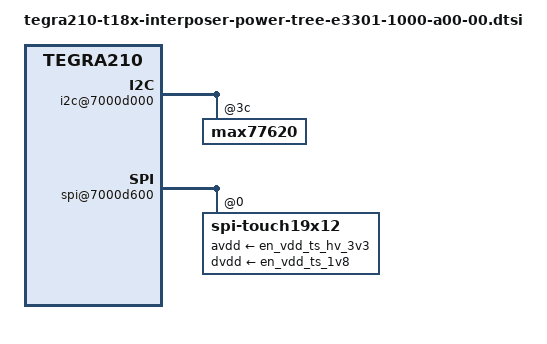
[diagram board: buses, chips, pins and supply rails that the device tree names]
/*
 * Copyright (c) 2015, NVIDIA CORPORATION.  All rights reserved.
 *
 * This program is free software; you can redistribute it and/or modify
 * it under the terms of the GNU General Public License as published by
 * the Free Software Foundation; either version 2 of the License, or
 * (at your option) any later version.
 *
 * This program is distributed in the hope that it will be useful, but WITHOUT
 * ANY WARRANTY; without even the implied warranty of MERCHANTABILITY or
 * FITNESS FOR A PARTICULAR PURPOSE.  See the GNU General Public License for
 * more details.
 *
 */

#include <dt-bindings/padctrl/tegra210-pads.h>
#include "tegra210-t18x-interposer-pmic-e3301-1000-a00-00.dtsi"
#include "tegra210-t18x-interposer-fixed-e3301-1000-a00-00.dtsi"
#include "tegra210-ers-power-dvfs-e2174-1101-a00.dtsi"

/ {
	dvfs_rails {
		vdd-cpu-rail-max77621@2 {
			/delete-property/ vdd_cpu-supply;
		};
		vdd-gpu-rail-max77621@3 {
			/delete-property/ vdd_gpu-supply;
		};
	};

	i2c@7000d000 {
		max77620@3c {
			regulators {
				sd0 {
					regulator-enable-ramp-delay = <146>;
					regulator-disable-ramp-delay = <4080>;
					regulator-ramp-delay = <27500>;
					regulator-ramp-delay-scale = <300>;
				};

				sd1 {
					regulator-enable-ramp-delay = <130>;
					regulator-disable-ramp-delay = <145800>;
					regulator-ramp-delay = <27500>;
					regulator-ramp-delay-scale = <300>;
				};

				sd2 {
					regulator-enable-ramp-delay = <176>;
					regulator-disable-ramp-delay = <32000>;
					regulator-ramp-delay = <27500>;
					regulator-ramp-delay-scale = <350>;
				};

				sd3 {
					regulator-enable-ramp-delay = <242>;
					regulator-disable-ramp-delay = <118000>;
					regulator-ramp-delay = <27500>;
					regulator-ramp-delay-scale = <360>;
				};

				ldo0 {
					regulator-enable-ramp-delay = <26>;
					regulator-disable-ramp-delay = <626>;
					regulator-ramp-delay = <100000>;
					regulator-ramp-delay-scale = <200>;
				};

				ldo1 {
					regulator-enable-ramp-delay = <22>;
					regulator-disable-ramp-delay = <630>;
					regulator-ramp-delay = <100000>;
					regulator-ramp-delay-scale = <200>;
				};

				ldo2 {
					regulator-enable-ramp-delay = <62>;
					regulator-disable-ramp-delay = <650>;
					regulator-ramp-delay = <100000>;
					regulator-ramp-delay-scale = <200>;
				};

				ldo3 {
					regulator-enable-ramp-delay = <50>;
					regulator-disable-ramp-delay = <1110>;
					regulator-ramp-delay = <100000>;
					regulator-ramp-delay-scale = <200>;
				};

				ldo4 {
					regulator-enable-ramp-delay = <22>;
					regulator-disable-ramp-delay = <610>;
					regulator-ramp-delay = <100000>;
					regulator-ramp-delay-scale = <200>;
				};

				ldo5 {
					regulator-enable-ramp-delay = <62>;
					regulator-disable-ramp-delay = <640>;
					regulator-ramp-delay = <100000>;
					regulator-ramp-delay-scale = <200>;
				};

				ldo6 {
					regulator-enable-ramp-delay = <36>;
					regulator-disable-ramp-delay = <674>;
					regulator-ramp-delay = <100000>;
					regulator-ramp-delay-scale = <200>;
				};

				ldo7 {
					regulator-enable-ramp-delay = <24>;
					regulator-disable-ramp-delay = <2768>;
					regulator-ramp-delay = <100000>;
					regulator-ramp-delay-scale = <200>;
				};

				ldo8 {
					regulator-enable-ramp-delay = <22>;
					regulator-disable-ramp-delay = <1160>;
					regulator-ramp-delay = <100000>;
					regulator-ramp-delay-scale = <200>;
				};
			};
		};
	};

	regulators {
		regulator@1 {
			regulator-enable-ramp-delay = <160>;
			regulator-disable-ramp-delay = <10000>;
		};

		regulator@2 {
			regulator-enable-ramp-delay = <240>;
			regulator-disable-ramp-delay = <11340>;
		};

		regulator@4 {
			regulator-enable-ramp-delay = <472>;
			regulator-disable-ramp-delay = <4880>;
		};

		regulator@6 {
			regulator-enable-ramp-delay = <3090>;
		};

		regulator@7 {
			regulator-enable-ramp-delay = <468>;
			regulator-disable-ramp-delay = <13000>;
		};


	};

	i2c@546c0000 {
		bus-pullup-supply = <&battery_reg>;
	};

	efuse@7000f800 {
		vpp_fuse-supply = <&max77620_sd3>;
	};

	host1x {
		/* tegradc.0 */
		dc@54200000 {
			avdd_dsi_csi-supply = <&max77620_gpio7>;
			avdd_lcd-supply = <&vdd_disp_3v0>;
			dvdd_lcd-supply = <&max77620_sd3>;
			vdd_lcd_bl_en-supply = <&lcd_bl_en>;
			vdd_lcd_bl-supply = <&vdd_3v3>;
		};

		/* tegradc.1 */
		dc@54240000 {
			avdd_hdmi-supply = <&max77620_ldo8>;    /* 1V05 */
			avdd_hdmi_pll-supply = <&max77620_sd3>; /* 1V8 */
			vdd_hdmi_5v0-supply = <&vdd_hdmi>;	/* 5V0 GPIO_PCC7 fixed reg */
		};

		vi {
			avdd_dsi_csi-supply = <&max77620_gpio7>;
		};
	};

	sound {
		ldoen-supply = <&vdd_sys_boost>;
		spkvdd-supply = <&vdd_sys_boost>;
		dbvdd-supply = <&vdd_sys_boost>;
		avdd-supply = <&vdd_sys_boost>;
		dmicvdd-supply = <&max77620_sd3>;
	};

	udc@7d000000 {
		avdd_usb-supply = <&vdd_3v3>;
		avdd_pll_utmip-supply = <&max77620_sd3>;
	};

	usb_cd@7009f000 {
	};

	ehci@7d000000 {
		avdd_usb-supply = <&vdd_3v3>;
		avdd_pll_utmip-supply = <&max77620_sd3>;
	};

	xusb@70090000 {
		usb_vbus0-supply = <&battery_reg>;
		usb_vbus1-supply = <&usb_vbus3>;
		usb_vbus2-supply = <&usb_vbus1>;
		usb_vbus3-supply = <&vdd_3v3>;
		hvdd_usb-supply = <&vdd_3v3>;
		avdd_pll_utmip-supply = <&max77620_sd3>;
		vddio_hsic-supply = <&max77620_ldo0>;
		avddio_usb-supply = <&max77620_ldo1>;
		dvdd_sata-supply = <&max77620_ldo8>;
		avddio_pll_uerefe-supply = <&max77620_ldo7>;
	};

	xudc@700d0000 {
                hvdd_usb-supply = <&vdd_3v3>;
                avdd_pll_utmip-supply = <&max77620_sd3>;
                avddio_usb-supply = <&max77620_ldo1>;
                avddio_pll_uerefe-supply = <&max77620_ldo7>;
        };

	xotg {
		usb_vbus-supply = <&battery_reg>;
	};

	otg@7d000000 {
		usb_vbus-supply = <&battery_reg>;
	};

	sdhci@700b0600 {
		vddio_sdmmc-supply = <&max77620_sd3>;
		vddio_sd_slot-supply = <&vdd_3v3>;
	};

	sdhci@700b0400 {
		vddio_sdmmc-supply = <&max77620_sd3>;
		vddio_sd_slot-supply = <&vdd_3v3>;
	};

	sdhci@700b0200 {
		vddio_sdmmc-supply = <&max77620_sd3>;
		vddio_sd_slot-supply = <&vdd_3v3>;
	};

	sdhci@700b0000 {
		vddio_sdmmc-supply = <&max77620_ldo2>;
		vddio_sd_slot-supply = <&en_vdd_sd>;
	};

	sata@70020000 {
		hvdd_sata-supply = <&max77620_sd3>;
		hvdd_pex_pll_e-supply = <&max77620_sd3>;
		l0_hvddio_sata-supply = <&max77620_sd3>;
		l0_dvddio_sata-supply = <&max77620_ldo8>;
		dvdd_sata_pll-supply = <&max77620_ldo8>;
	};

	bluedroid_pm {
		avdd-supply = <&battery_reg>;
		dvdd-supply = <&max77620_sd3>;
	};

	pwm-fan {
		vdd-fan-supply = <&vdd_fan>;
	};

	pmc@7000e400 {
		bootrom-commands {
			commands@4-003c {
				nvidia,command-names = "pmic-rails";
				reg = <0x3c>;
				nvidia,enable-8bit-register;
				nvidia,enable-8bit-data;
				nvidia,controller-type-i2c;
				nvidia,controller-id = <4>;
				nvidia,enable-controller-reset;
				nvidia,write-commands = <0x00000016 0x00000020>;
			};
		};
	};

	host1x {
		dc@54200000 {
			avdd_dsi_csi-supply = <&max77620_ldo0>;
			avdd_lcd-supply = <&en_avdd_disp_3v3>;
			dvdd_lcd-supply = <&en_dvdd_disp_1v8>;
			vdd_lcd_bl_en-supply = <&lcd_bl_en>;
			vdd_lcd_bl-supply = <&vdd_3v3>;
		};

		vi {
			avdd_dsi_csi-supply = <&max77620_ldo0>;
		};
	};

	pwm-fan {
		vdd-fan-supply = <&vdd_fan>;
	};

	otg@7d000000 {
		usb_vbus-supply = <&usb_vbus1>;
	};

	xusb@70090000 {
		usb_vbus1-supply = <&en_vdd_eth_5v0>;
		usb_vbus2-supply = <&en_usb_vbus2>;
	};

	spi@7000d600 {
		spi-touch19x12@0 {
			avdd-supply = <&en_vdd_ts_hv_3v3>;
			dvdd-supply = <&en_vdd_ts_1v8>;
		};
	};

	pmc-iopower {
		iopower-sys-supply = <&max77620_sd3>;
		iopower-uart-supply = <&max77620_sd3>;
		iopower-audio-supply = <&max77620_sd3>;
		iopower-cam-supply = <&max77620_sd3>;
		iopower-pex-ctrl-supply = <&max77620_sd3>;
		iopower-sdmmc1-supply = <&max77620_ldo2>;
		iopower-sdmmc3-supply = <&max77620_sd3>;
		iopower-sdmmc4-supply = <&max77620_sd3>;
		iopower-audio-hv-supply = <&max77620_sd3>;
		iopower-debug-supply = <&max77620_sd3>;
		iopower-dmic-supply = <&max77620_sd3>;
		iopower-gpio-supply = <&max77620_sd3>;
		iopower-spi-supply = <&max77620_sd3>;
		iopower-spi-hv-supply = <&max77620_sd3>;
		iopower-sdmmc2-supply = <&max77620_sd3>;
		iopower-dp-supply = <&max77620_sd3>;
	};

	pmc@7000e400 {
		io-pad-defaults {
			audio-hv {
				nvidia,io-pad-init-voltage = <IO_PAD_VOLTAGE_1_8V>;
			};

			spi-hv {
				nvidia,io-pad-init-voltage = <IO_PAD_VOLTAGE_1_8V>;
			};

			gpio {
				nvidia,io-pad-init-voltage = <IO_PAD_VOLTAGE_1_8V>;
			};
			sdmmc3 {
				nvidia,io-pad-init-voltage = <IO_PAD_VOLTAGE_1_8V>;
			};
		};
	};
};
